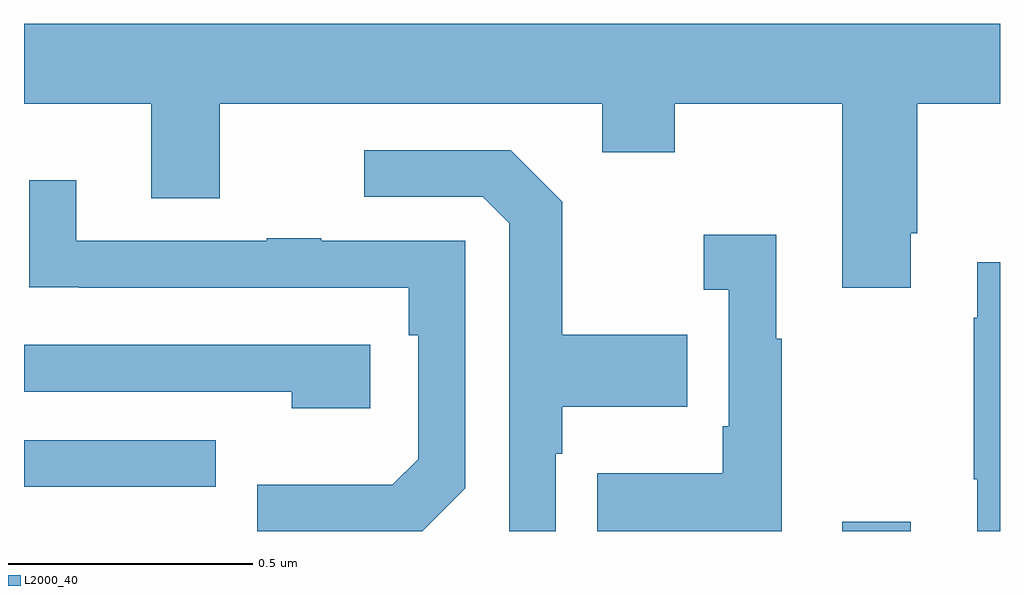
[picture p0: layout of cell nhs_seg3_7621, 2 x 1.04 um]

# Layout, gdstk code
import gdstk
lib = gdstk.Library(unit=1e-6, precision=1e-09)
def R(c, l, rs):  # rectangles x0, y0, x1, y1
    for r in rs: c.add(gdstk.rectangle(r[:2], r[2:], *l))
def P(c, l, *ps):  # polygons
    for p in ps: c.add(gdstk.Polygon(p, *l))
L2000_40 = (2000, 40)

nhs_seg3_7621 = lib.new_cell('nhs_seg3_7621')
R(nhs_seg3_7621, L2000_40, [(207.677,673.4,207.817,673.42), (206,673.491,206.393,673.587)])
P(nhs_seg3_7621, L2000_40, [(207.817,674.011),(207.83,674.011),(207.83,674.276),(208,674.276),(208,674.44),(206,674.44),(206,674.276),(206.261,674.276),(206.261,674.082),(206.401,674.082),(206.401,674.276),(207.185,674.276),(207.185,674.177),(207.333,674.177),(207.333,674.276),(207.677,674.276),(207.677,673.899),(207.817,673.899)],
  [(207.09,673.559),(207.103,673.559),(207.103,673.655),(207.359,673.655),(207.359,673.803),(207.103,673.803),(207.103,674.075),(206.997,674.181),(206.697,674.181),(206.697,674.085),(206.94,674.085),(206.994,674.031),(206.994,673.4),(207.09,673.4)],
  [(206.904,673.488),(206.904,673.995),(206.609,673.995),(206.609,674),(206.497,674),(206.497,673.995),(206.107,673.995),(206.107,674.119),(206.011,674.119),(206.011,673.9),(206.113,673.9),(206.113,673.899),(206.788,673.899),(206.788,673.802),(206.808,673.802),(206.808,673.548),(206.755,673.495),(206.478,673.495),(206.478,673.4),(206.816,673.4)],
  [(207.553,673.795),(207.541,673.795),(207.541,674.008),(207.393,674.008),(207.393,673.895),(207.444,673.895),(207.444,673.615),(207.432,673.615),(207.432,673.519),(207.175,673.519),(207.175,673.4),(207.553,673.4)],
  [(208,673.951),(207.953,673.951),(207.953,673.838),(207.946,673.838),(207.946,673.507),(207.953,673.507),(207.953,673.4),(208,673.4)],
  [(206.71,673.782),(206,673.782),(206,673.686),(206.549,673.686),(206.549,673.652),(206.71,673.652)])

lib.write_gds('nhs_seg3_7621.gds')
